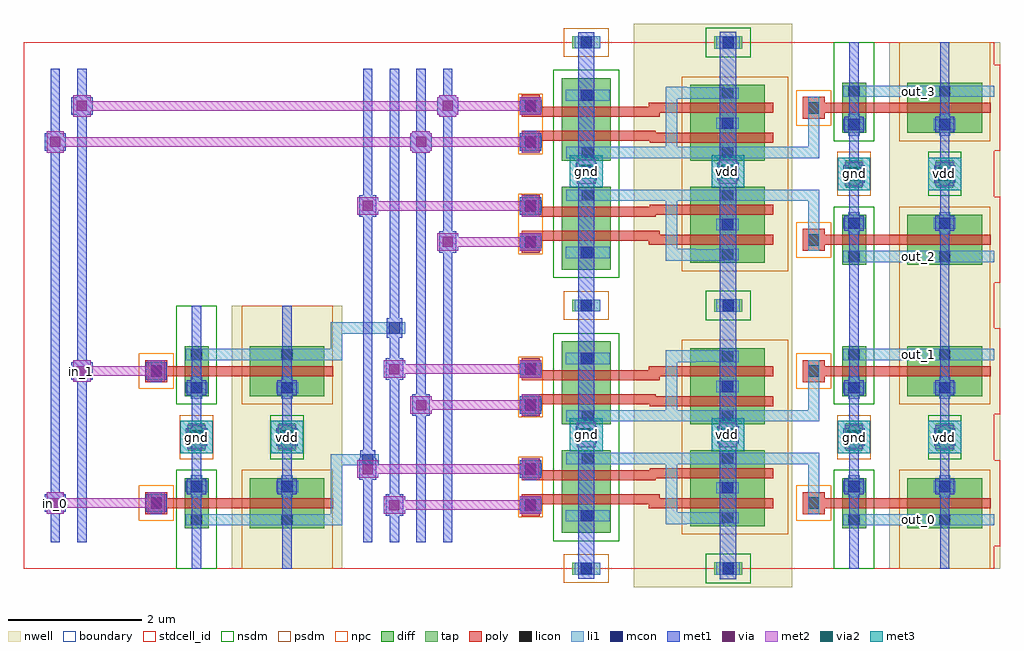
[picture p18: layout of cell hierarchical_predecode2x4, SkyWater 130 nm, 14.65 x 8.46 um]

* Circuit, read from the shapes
.subckt hierarchical_predecode2x4 gnd in_0 in_1 out_0 out_1 out_2 out_3 vdd
XM1 gnd in_0 and2_dec_2/A gnd sky130_fd_pr__nfet_01v8 w=0.36 l=0.15
XM2 and2_dec_2/B in_1 gnd gnd sky130_fd_pr__nfet_01v8 w=0.36 l=0.15
XM3 n1 and2_dec_2/B gnd gnd sky130_fd_pr__nfet_01v8 w=0.74 l=0.15
XM4 and2_dec_2/pinv_dec_1/A and2_dec_2/A n1 gnd sky130_fd_pr__nfet_01v8 w=0.74 l=0.15
XM5 n2 in_0 and2_dec_3/pinv_dec_1/A gnd sky130_fd_pr__nfet_01v8 w=0.74 l=0.15
XM6 gnd and2_dec_2/B n2 gnd sky130_fd_pr__nfet_01v8 w=0.74 l=0.15
XM7 n3 in_1 gnd gnd sky130_fd_pr__nfet_01v8 w=0.74 l=0.15
XM8 and2_dec_4/pinv_dec_1/A and2_dec_2/A n3 gnd sky130_fd_pr__nfet_01v8 w=0.74 l=0.15
XM9 n4 in_0 and2_dec_5/pinv_dec_1/A gnd sky130_fd_pr__nfet_01v8 w=0.74 l=0.15
XM10 gnd in_1 n4 gnd sky130_fd_pr__nfet_01v8 w=0.74 l=0.15
XM11 gnd and2_dec_2/pinv_dec_1/A out_0 gnd sky130_fd_pr__nfet_01v8 w=0.36 l=0.15
XM12 out_1 and2_dec_3/pinv_dec_1/A gnd gnd sky130_fd_pr__nfet_01v8 w=0.36 l=0.15
XM13 gnd and2_dec_4/pinv_dec_1/A out_2 gnd sky130_fd_pr__nfet_01v8 w=0.36 l=0.15
XM14 out_3 and2_dec_5/pinv_dec_1/A gnd gnd sky130_fd_pr__nfet_01v8 w=0.36 l=0.15
XM15 vdd in_0 and2_dec_2/A vdd sky130_fd_pr__pfet_01v8 w=1.12 l=0.15
XM16 and2_dec_2/B in_1 vdd vdd sky130_fd_pr__pfet_01v8 w=1.12 l=0.15
XM17 vdd and2_dec_2/B and2_dec_2/pinv_dec_1/A vdd sky130_fd_pr__pfet_01v8 w=1.12 l=0.15
XM18 and2_dec_2/pinv_dec_1/A and2_dec_2/A vdd vdd sky130_fd_pr__pfet_01v8 w=1.12 l=0.15
XM19 vdd in_0 and2_dec_3/pinv_dec_1/A vdd sky130_fd_pr__pfet_01v8 w=1.12 l=0.15
XM20 and2_dec_3/pinv_dec_1/A and2_dec_2/B vdd vdd sky130_fd_pr__pfet_01v8 w=1.12 l=0.15
XM21 vdd in_1 and2_dec_4/pinv_dec_1/A vdd sky130_fd_pr__pfet_01v8 w=1.12 l=0.15
XM22 and2_dec_4/pinv_dec_1/A and2_dec_2/A vdd vdd sky130_fd_pr__pfet_01v8 w=1.12 l=0.15
XM23 vdd in_0 and2_dec_5/pinv_dec_1/A vdd sky130_fd_pr__pfet_01v8 w=1.12 l=0.15
XM24 and2_dec_5/pinv_dec_1/A in_1 vdd vdd sky130_fd_pr__pfet_01v8 w=1.12 l=0.15
XM25 vdd and2_dec_2/pinv_dec_1/A out_0 vdd sky130_fd_pr__pfet_01v8 w=1.12 l=0.15
XM26 out_1 and2_dec_3/pinv_dec_1/A vdd vdd sky130_fd_pr__pfet_01v8 w=1.12 l=0.15
XM27 vdd and2_dec_4/pinv_dec_1/A out_2 vdd sky130_fd_pr__pfet_01v8 w=1.12 l=0.15
XM28 out_3 and2_dec_5/pinv_dec_1/A vdd vdd sky130_fd_pr__pfet_01v8 w=1.12 l=0.15
.ends

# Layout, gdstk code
from math import pi, radians
import gdstk
lib = gdstk.Library(unit=1e-6, precision=1e-09)
def R(c, l, rs):  # rectangles x0, y0, x1, y1
    for r in rs: c.add(gdstk.rectangle(r[:2], r[2:], *l))
def A(c, l, x, y, w, h, nx, ny, dx, dy):  # array of equal rectangles
    R(c, l, [(x+i*dx, y+j*dy, x+i*dx+w, y+j*dy+h) for i in range(nx) for j in range(ny)])
nwell = (64, 20)
diff = (65, 20)
tap = (65, 44)
poly = (66, 20)
licon = (66, 44)
li1 = (67, 20)
mcon = (67, 44)
met1 = (68, 20)
via = (68, 44)
met2 = (69, 20)
via2 = (69, 44)
met3 = (70, 20)
stdcell_id = (81, 4)
nsdm = (93, 44)
psdm = (94, 20)
npc = (95, 20)
boundary = (235, 4)

contact_11 = lib.new_cell('contact_11')
R(contact_11, nwell, [(-0.295,-0.255,0.545,0.585)])
R(contact_11, diff, [(0,0.02,0.25,0.31)])
R(contact_11, licon, [(0.04,0.08,0.21,0.25)])
R(contact_11, li1, [(0.04,0,0.21,0.33)])
R(contact_11, stdcell_id, [(-0.295,-0.255,0.545,0.585)])
R(contact_11, psdm, [(-0.125,-0.105,0.375,0.435)])
R(contact_11, boundary, [(-0.295,-0.255,0.545,0.585)])

pmos_m1_w1_120_sli_dli_d = lib.new_cell('pmos_m1_w1_120_sli_dli_da_p')
R(pmos_m1_w1_120_sli_dli_d, nwell, [(-0.27,-0.27,1.02,1.39)])
R(pmos_m1_w1_120_sli_dli_d, diff, [(0,0,0.75,1.12)])
R(pmos_m1_w1_120_sli_dli_d, poly, [(0.3,-0.13,0.45,1.25), (0.3,-0.13,0.45,1.25)])
R(pmos_m1_w1_120_sli_dli_d, li1, [(0.04,0.395,0.21,0.725), (0.54,0.395,0.71,0.725)])
R(pmos_m1_w1_120_sli_dli_d, stdcell_id, [(-0.27,-0.27,1.02,1.39)])
R(pmos_m1_w1_120_sli_dli_d, psdm, [(-0.125,-0.125,0.875,1.245)])
R(pmos_m1_w1_120_sli_dli_d, boundary, [(-0.27,-0.27,1.02,1.39)])
pmos_m1_w1_120_sli_dli_d.add(gdstk.Reference(contact_11, (0,0.395)))
pmos_m1_w1_120_sli_dli_d.add(gdstk.Reference(contact_11, (0.5,0.395)))
pmos_m1_w1_120_sli_dli_d.add(gdstk.Label('S', (0.125,0.56), layer=67, texttype=16))
pmos_m1_w1_120_sli_dli_d.add(gdstk.Label('G', (0.375,0.56), layer=66, texttype=16))
pmos_m1_w1_120_sli_dli_d.add(gdstk.Label('D', (0.625,0.56), layer=67, texttype=16))

contact_17 = lib.new_cell('contact_17')
R(contact_17, diff, [(0,0.02,0.25,0.31)])
R(contact_17, licon, [(0.04,0.08,0.21,0.25)])
R(contact_17, li1, [(0.04,0,0.21,0.33)])
R(contact_17, stdcell_id, [(-0.125,-0.105,0.375,0.435)])
R(contact_17, nsdm, [(-0.125,-0.105,0.375,0.435)])
R(contact_17, boundary, [(-0.125,-0.105,0.375,0.435)])

nmos_m1_w0_360_sli_dli_d = lib.new_cell('nmos_m1_w0_360_sli_dli_da_p')
R(nmos_m1_w0_360_sli_dli_d, diff, [(0,0,0.75,0.36)])
R(nmos_m1_w0_360_sli_dli_d, poly, [(0.3,-0.13,0.45,0.49), (0.3,-0.13,0.45,0.49)])
R(nmos_m1_w0_360_sli_dli_d, li1, [(0.04,0.015,0.21,0.345), (0.54,0.015,0.71,0.345)])
R(nmos_m1_w0_360_sli_dli_d, stdcell_id, [(-0.125,-0.13,0.875,0.49)])
R(nmos_m1_w0_360_sli_dli_d, nsdm, [(-0.125,-0.125,0.875,0.485)])
R(nmos_m1_w0_360_sli_dli_d, boundary, [(-0.125,-0.13,0.875,0.49)])
nmos_m1_w0_360_sli_dli_d.add(gdstk.Reference(contact_17, (0,0.015)))
nmos_m1_w0_360_sli_dli_d.add(gdstk.Reference(contact_17, (0.5,0.015)))
nmos_m1_w0_360_sli_dli_d.add(gdstk.Label('S', (0.125,0.18), layer=67, texttype=16))
nmos_m1_w0_360_sli_dli_d.add(gdstk.Label('G', (0.375,0.18), layer=66, texttype=16))
nmos_m1_w0_360_sli_dli_d.add(gdstk.Label('D', (0.625,0.18), layer=67, texttype=16))

contact_13 = lib.new_cell('contact_13')
R(contact_13, nwell, [(-0.295,-0.215,0.545,0.625)])
R(contact_13, tap, [(0,0,0.25,0.41)])
R(contact_13, licon, [(0.04,0.12,0.21,0.29)])
R(contact_13, li1, [(0.04,0.04,0.21,0.37)])
R(contact_13, stdcell_id, [(-0.295,-0.215,0.545,0.625)])
R(contact_13, nsdm, [(-0.125,-0.125,0.375,0.535)])
R(contact_13, boundary, [(-0.295,-0.215,0.545,0.625)])

contact_7 = lib.new_cell('contact_7')
R(contact_7, li1, [(0.06,0,0.23,0.33)])
R(contact_7, mcon, [(0.06,0.08,0.23,0.25)])
R(contact_7, met1, [(0,0.05,0.29,0.28)])
R(contact_7, stdcell_id, [(0,0,0.29,0.33)])
R(contact_7, boundary, [(0,0,0.29,0.33)])

contact_18 = lib.new_cell('contact_18')
R(contact_18, tap, [(0,0,0.25,0.41)])
R(contact_18, licon, [(0.04,0.12,0.21,0.29)])
R(contact_18, li1, [(0.04,0.04,0.21,0.37)])
R(contact_18, stdcell_id, [(-0.125,-0.125,0.375,0.535)])
R(contact_18, psdm, [(-0.125,-0.125,0.375,0.535)])
R(contact_18, boundary, [(-0.125,-0.125,0.375,0.535)])

contact_12 = lib.new_cell('contact_12')
R(contact_12, poly, [(0,0,0.33,0.33)])
R(contact_12, licon, [(0.08,0.08,0.25,0.25)])
R(contact_12, li1, [(0.08,0,0.25,0.33)])
R(contact_12, stdcell_id, [(-0.1,-0.1,0.43,0.43)])
R(contact_12, npc, [(-0.1,-0.1,0.43,0.43)])
R(contact_12, boundary, [(-0.1,-0.1,0.43,0.43)])

pinv_dec = lib.new_cell('pinv_dec')
R(pinv_dec, nwell, [(1.52,0,3.18,2.45)])
R(pinv_dec, poly, [(0.385,0.91,0.68,1.06), (1.3,0.91,1.66,1.06)])
R(pinv_dec, li1, [(0.825,0.65,3.09,0.82), (0.3,0.82,0.47,1.15)])
R(pinv_dec, met1, [(0.92,0,1.06,1.975), (2.28,0,2.42,1.975)])
R(pinv_dec, stdcell_id, [(0,0,3.09,1.975), (0,0,3.09,1.975)])
R(pinv_dec, nsdm, [(0.685,0,1.295,1.36)])
R(pinv_dec, psdm, [(1.665,0,3.035,1.36)])
R(pinv_dec, boundary, [(0,0,3.09,1.975), (0,0,3.09,1.975)])
pinv_dec.add(gdstk.Reference(pmos_m1_w1_120_sli_dli_d, (1.79,1.36), rotation=3*pi/2))
pinv_dec.add(gdstk.Reference(nmos_m1_w0_360_sli_dli_d, (0.81,1.36), rotation=3*pi/2))
pinv_dec.add(gdstk.Reference(contact_13, (2.225,1.77)))
pinv_dec.add(gdstk.Reference(contact_7, (2.205,1.81)))
pinv_dec.add(gdstk.Reference(contact_18, (0.865,1.77)))
pinv_dec.add(gdstk.Reference(contact_7, (0.845,1.81)))
pinv_dec.add(gdstk.Reference(contact_12, (0.22,0.82)))
pinv_dec.add(gdstk.Reference(contact_7, (0.845,1.07)))
pinv_dec.add(gdstk.Reference(contact_7, (2.205,1.07)))
pinv_dec.add(gdstk.Label('gnd', (0.99,0.988), layer=68, texttype=16))
pinv_dec.add(gdstk.Label('Z', (1.958,0.735), layer=67, texttype=16))
pinv_dec.add(gdstk.Label('vdd', (2.35,0.988), layer=68, texttype=16))
pinv_dec.add(gdstk.Label('A', (0.385,0.985), layer=67, texttype=16))

nand2_dec = lib.new_cell('nand2_dec')
R(nand2_dec, nwell, [(2.06,-0.28,4.44,2.38)])
R(nand2_dec, diff, [(0.98,0.54,1.72,1.78), (2.91,0.64,4.03,1.78)])
R(nand2_dec, tap, [(3.27,-0.095,3.69,0.095), (1.14,-0.09,1.56,0.09)])
R(nand2_dec, poly, [(0.38,0.79,0.65,0.97), (2.29,0.91,4.16,0.97), (0.38,0.97,4.16,1.06), (0.38,1.06,2.45,1.12), (0.38,1.33,2.39,1.36), (0.38,1.36,4.16,1.48), (0.38,1.48,0.65,1.66), (2.3,1.48,4.16,1.51)])
R(nand2_dec, licon, [(1.265,-0.085,1.435,0.085), (3.395,-0.085,3.565,0.085), (3.385,0.68,3.555,0.85), (1.295,0.71,1.465,0.88), (0.43,0.87,0.6,1.04), (3.385,1.13,3.555,1.3), (0.43,1.41,0.6,1.58), (1.285,1.57,1.455,1.74), (3.385,1.57,3.555,1.74)])
R(nand2_dec, li1, [(3.3,-0.095,3.65,0.095), (1.18,-0.09,1.56,0.09), (2.545,0.67,2.86,0.675), (2.545,0.675,3.425,0.68), (2.545,0.68,3.64,0.845), (1.04,0.71,1.7,0.88), (2.545,0.845,2.99,0.85), (3.3,0.845,3.64,0.85), (2.545,0.85,2.715,1.57), (0.35,0.87,0.68,1.04), (0.35,0.87,0.68,1.04), (3.3,1.13,3.635,1.3), (0.35,1.41,0.68,1.58), (0.35,1.41,0.68,1.58), (1.05,1.57,4.44,1.74), (1.05,1.57,4.44,1.74)])
R(nand2_dec, mcon, [(1.265,-0.085,1.435,0.085), (3.395,-0.085,3.565,0.085), (1.27,0.71,1.44,0.88), (3.385,1.13,3.555,1.3)])
R(nand2_dec, met1, [(3.35,-0.16,3.6,2.01), (3.35,-0.16,3.6,2.01), (1.23,-0.15,1.47,2.01), (1.23,-0.15,1.47,2.01)])
R(nand2_dec, nsdm, [(3.145,-0.22,3.815,0.22), (0.855,0.415,1.845,1.975)])
R(nand2_dec, psdm, [(1.015,-0.215,1.685,0.215), (2.785,0.515,4.38,1.975)])
R(nand2_dec, npc, [(0.33,0.77,0.7,1.68)])
R(nand2_dec, boundary, [(0,0,4.38,1.975)])
nand2_dec.add(gdstk.Label('B', (0.515,0.955), layer=67, texttype=20))
nand2_dec.add(gdstk.Label('A', (0.515,1.495), layer=67, texttype=20))
nand2_dec.add(gdstk.Label('Z', (4.27,1.655), layer=67, texttype=20))
nand2_dec.add(gdstk.Label('vdd', (3.48,0.47), layer=68, texttype=16))
nand2_dec.add(gdstk.Label('gnd', (1.34,0.41), layer=68, texttype=16))
nand2_dec.add(gdstk.Label('gnd', (1.35,0.93), layer=68, texttype=16))
nand2_dec.add(gdstk.Label('Z', (2.745,1.655), layer=67, texttype=16))
nand2_dec.add(gdstk.Label('vdd', (3.475,0.925), layer=68, texttype=16))
nand2_dec.add(gdstk.Label('A', (0.515,1.495), layer=67, texttype=16))
nand2_dec.add(gdstk.Label('B', (0.515,0.955), layer=67, texttype=16))

and2_dec = lib.new_cell('and2_dec')
R(and2_dec, li1, [(5.205,0.65,7.47,0.82), (0.35,0.87,0.68,1.04), (4.68,0.985,4.85,1.655), (0.35,1.41,0.68,1.58), (2.745,1.57,4.765,1.74), (4.68,1.57,4.85,1.74)])
R(and2_dec, met1, [(3.35,-0.16,3.6,2.01), (1.23,-0.15,1.47,2.01), (5.3,0,5.44,1.975), (6.66,0,6.8,1.975)])
R(and2_dec, stdcell_id, [(0,0,7.47,1.975)])
R(and2_dec, boundary, [(0,0,7.47,1.975)])
and2_dec.add(gdstk.Reference(nand2_dec, (0,0)))
and2_dec.add(gdstk.Reference(pinv_dec, (4.38,0)))
and2_dec.add(gdstk.Label('gnd', (1.35,0.93), layer=68, texttype=16))
and2_dec.add(gdstk.Label('gnd', (5.37,0.988), layer=68, texttype=16))
and2_dec.add(gdstk.Label('Z', (6.338,0.735), layer=67, texttype=16))
and2_dec.add(gdstk.Label('vdd', (6.73,0.988), layer=68, texttype=16))
and2_dec.add(gdstk.Label('vdd', (3.475,0.925), layer=68, texttype=16))
and2_dec.add(gdstk.Label('A', (0.515,1.495), layer=67, texttype=16))
and2_dec.add(gdstk.Label('B', (0.515,0.955), layer=67, texttype=16))

contact_19 = lib.new_cell('contact_19')
R(contact_19, li1, [(0,0.06,0.33,0.23)])
R(contact_19, mcon, [(0.08,0.06,0.25,0.23)])
R(contact_19, met1, [(0.05,0,0.28,0.29)])
R(contact_19, stdcell_id, [(0,0,0.33,0.29)])
R(contact_19, boundary, [(0,0,0.33,0.29)])

contact_8 = lib.new_cell('contact_8')
R(contact_8, met1, [(0,0.03,0.32,0.29)])
R(contact_8, via, [(0.085,0.085,0.235,0.235)])
R(contact_8, met2, [(0.03,0,0.29,0.32)])
R(contact_8, stdcell_id, [(0,0,0.32,0.32)])
R(contact_8, boundary, [(0,0,0.32,0.32)])

contact_20 = lib.new_cell('contact_20')
R(contact_20, met1, [(0.03,0,0.29,0.32)])
R(contact_20, via, [(0.085,0.085,0.235,0.235)])
R(contact_20, met2, [(0,0.03,0.32,0.29)])
R(contact_20, stdcell_id, [(0,0,0.32,0.32)])
R(contact_20, boundary, [(0,0,0.32,0.32)])

contact_21 = lib.new_cell('contact_21')
R(contact_21, li1, [(0,0.03,0.33,0.2)])
R(contact_21, mcon, [(0.08,0.03,0.25,0.2)])
R(contact_21, met1, [(0.02,0,0.31,0.23)])
R(contact_21, stdcell_id, [(0,0,0.33,0.23)])
R(contact_21, boundary, [(0,0,0.33,0.23)])

contact_22 = lib.new_cell('contact_22')
R(contact_22, met1, [(0,0,0.32,0.26)])
R(contact_22, via, [(0.085,0.055,0.235,0.205)])
R(contact_22, met2, [(0,0,0.32,0.26)])
R(contact_22, stdcell_id, [(0,0,0.32,0.26)])
R(contact_22, boundary, [(0,0,0.32,0.26)])

contact_9 = lib.new_cell('contact_9')
R(contact_9, met2, [(0.025,0,0.305,0.37)])
R(contact_9, via2, [(0.065,0.085,0.265,0.285)])
R(contact_9, met3, [(0,0.02,0.33,0.35)])
R(contact_9, stdcell_id, [(0,0,0.33,0.37)])
R(contact_9, boundary, [(0,0,0.33,0.37)])

hierarchical_predecode2x = lib.new_cell('hierarchical_predecode2x4')
R(hierarchical_predecode2x, li1, [(4.605,0.65,4.775,0.82), (12.295,0.65,14.56,0.82), (4.605,0.735,4.775,1.635), (4.605,1.55,4.775,1.72), (4.69,1.55,5.16,1.72), (4.605,3.13,4.775,3.3), (12.295,3.13,14.56,3.3), (4.605,3.215,4.775,3.61), (4.605,3.525,4.775,3.695), (4.69,3.525,5.56,3.695), (12.295,4.6,14.56,4.77), (12.295,7.08,14.56,7.25)])
A(hierarchical_predecode2x, met1, 5.09, 0.4, 0.14, 7.1, 4, 1, 0.4, 0)
R(hierarchical_predecode2x, met1, [(0.4,0.4,0.54,7.5), (0.8,0.4,0.94,7.5), (2.52,0.4,2.66,3.95), (3.88,0.4,4.02,3.95), (8.32,0.4,8.56,8.05), (10.44,0.4,10.69,8.06), (12.39,0.4,12.53,7.9), (13.75,0.4,13.89,7.9), (0.34,0.825,0.6,1.145), (7.445,0.825,7.765,1.085), (1.825,0.855,2.145,1.115), (7.445,1.365,7.765,1.625), (7.445,2.325,7.765,2.585), (0.74,2.805,1,3.125), (1.825,2.835,2.145,3.095), (7.445,2.865,7.765,3.125), (7.445,4.775,7.765,5.035), (7.445,5.315,7.765,5.575), (7.445,6.275,7.765,6.535), (7.445,6.815,7.765,7.075)])
R(hierarchical_predecode2x, met2, [(5.56,0.885,7.605,1.025), (0.47,0.915,1.985,1.055), (5.16,1.425,7.605,1.565), (2.45,1.855,2.73,2.095), (2.45,1.855,2.73,2.095), (3.81,1.855,4.09,2.095), (3.81,1.855,4.09,2.095), (12.32,1.855,12.6,2.095), (12.32,1.855,12.6,2.095), (13.68,1.855,13.96,2.095), (13.68,1.855,13.96,2.095), (8.3,1.89,8.58,2.13), (8.3,1.89,8.58,2.13), (10.425,1.89,10.705,2.13), (10.425,1.89,10.705,2.13), (5.96,2.385,7.605,2.525), (0.87,2.895,1.985,3.035), (5.56,2.925,7.605,3.065), (6.36,4.835,7.605,4.975), (5.16,5.375,7.605,5.515), (12.32,5.805,12.6,6.045), (12.32,5.805,12.6,6.045), (13.68,5.805,13.96,6.045), (13.68,5.805,13.96,6.045), (8.3,5.84,8.58,6.08), (8.3,5.84,8.58,6.08), (10.425,5.84,10.705,6.08), (10.425,5.84,10.705,6.08), (0.47,6.335,5.96,6.475), (5.96,6.335,7.605,6.475), (0.87,6.875,6.36,7.015), (6.36,6.875,7.605,7.015)])
R(hierarchical_predecode2x, met3, [(2.345,1.73,2.835,2.22), (3.705,1.73,4.195,2.22), (12.215,1.73,12.705,2.22), (13.575,1.73,14.065,2.22), (8.195,1.765,8.685,2.255), (10.32,1.765,10.81,2.255), (12.215,5.68,12.705,6.17), (13.575,5.68,14.065,6.17), (8.195,5.715,8.685,6.205), (10.32,5.715,10.81,6.205)])
R(hierarchical_predecode2x, stdcell_id, [(0,0,14.56,7.9)])
R(hierarchical_predecode2x, boundary, [(0,0,14.56,7.9)])
hierarchical_predecode2x.add(gdstk.Reference(pinv_dec, (1.6,0)))
hierarchical_predecode2x.add(gdstk.Reference(pinv_dec, (1.6,3.95), x_reflection=True))
hierarchical_predecode2x.add(gdstk.Reference(and2_dec, (7.09,0)))
hierarchical_predecode2x.add(gdstk.Reference(and2_dec, (7.09,3.95), x_reflection=True))
hierarchical_predecode2x.add(gdstk.Reference(and2_dec, (7.09,3.95)))
hierarchical_predecode2x.add(gdstk.Reference(and2_dec, (7.09,7.9), x_reflection=True))
hierarchical_predecode2x.add(gdstk.Reference(contact_19, (4.995,1.49)))
hierarchical_predecode2x.add(gdstk.Reference(contact_7, (1.84,0.82)))
hierarchical_predecode2x.add(gdstk.Reference(contact_8, (1.825,0.825)))
hierarchical_predecode2x.add(gdstk.Reference(contact_8, (0.31,0.825)))
hierarchical_predecode2x.add(gdstk.Reference(contact_19, (5.395,3.465)))
hierarchical_predecode2x.add(gdstk.Reference(contact_7, (1.84,2.8)))
hierarchical_predecode2x.add(gdstk.Reference(contact_8, (1.825,2.805)))
hierarchical_predecode2x.add(gdstk.Reference(contact_8, (0.71,2.805)))
hierarchical_predecode2x.add(gdstk.Reference(contact_8, (0.31,6.245)))
hierarchical_predecode2x.add(gdstk.Reference(contact_8, (5.8,6.245)))
hierarchical_predecode2x.add(gdstk.Reference(contact_8, (0.71,6.785)))
hierarchical_predecode2x.add(gdstk.Reference(contact_8, (6.2,6.785)))
hierarchical_predecode2x.add(gdstk.Reference(contact_20, (5,1.335)))
hierarchical_predecode2x.add(gdstk.Reference(contact_7, (7.46,1.33)))
hierarchical_predecode2x.add(gdstk.Reference(contact_8, (7.445,1.335)))
hierarchical_predecode2x.add(gdstk.Reference(contact_20, (5.4,0.795)))
hierarchical_predecode2x.add(gdstk.Reference(contact_21, (7.44,0.84)))
hierarchical_predecode2x.add(gdstk.Reference(contact_22, (7.445,0.825)))
hierarchical_predecode2x.add(gdstk.Reference(contact_20, (5.8,2.295)))
hierarchical_predecode2x.add(gdstk.Reference(contact_7, (7.46,2.29)))
hierarchical_predecode2x.add(gdstk.Reference(contact_8, (7.445,2.295)))
hierarchical_predecode2x.add(gdstk.Reference(contact_20, (5.4,2.835)))
hierarchical_predecode2x.add(gdstk.Reference(contact_21, (7.44,2.88)))
hierarchical_predecode2x.add(gdstk.Reference(contact_22, (7.445,2.865)))
hierarchical_predecode2x.add(gdstk.Reference(contact_20, (5,5.285)))
hierarchical_predecode2x.add(gdstk.Reference(contact_7, (7.46,5.28)))
hierarchical_predecode2x.add(gdstk.Reference(contact_8, (7.445,5.285)))
hierarchical_predecode2x.add(gdstk.Reference(contact_20, (6.2,4.745)))
hierarchical_predecode2x.add(gdstk.Reference(contact_21, (7.44,4.79)))
hierarchical_predecode2x.add(gdstk.Reference(contact_22, (7.445,4.775)))
hierarchical_predecode2x.add(gdstk.Reference(contact_20, (5.8,6.245)))
hierarchical_predecode2x.add(gdstk.Reference(contact_7, (7.46,6.24)))
hierarchical_predecode2x.add(gdstk.Reference(contact_8, (7.445,6.245)))
hierarchical_predecode2x.add(gdstk.Reference(contact_20, (6.2,6.785)))
hierarchical_predecode2x.add(gdstk.Reference(contact_21, (7.44,6.83)))
hierarchical_predecode2x.add(gdstk.Reference(contact_22, (7.445,6.815)))
hierarchical_predecode2x.add(gdstk.Reference(contact_8, (3.79,1.815)))
hierarchical_predecode2x.add(gdstk.Reference(contact_9, (3.785,1.79)))
hierarchical_predecode2x.add(gdstk.Reference(contact_8, (3.79,1.815)))
hierarchical_predecode2x.add(gdstk.Reference(contact_9, (3.785,1.79)))
hierarchical_predecode2x.add(gdstk.Reference(contact_8, (13.66,1.815)))
hierarchical_predecode2x.add(gdstk.Reference(contact_9, (13.655,1.79)))
hierarchical_predecode2x.add(gdstk.Reference(contact_8, (13.66,1.815)))
hierarchical_predecode2x.add(gdstk.Reference(contact_9, (13.655,1.79)))
hierarchical_predecode2x.add(gdstk.Reference(contact_8, (10.405,1.85)))
hierarchical_predecode2x.add(gdstk.Reference(contact_9, (10.4,1.825)))
hierarchical_predecode2x.add(gdstk.Reference(contact_8, (10.405,1.85)))
hierarchical_predecode2x.add(gdstk.Reference(contact_9, (10.4,1.825)))
hierarchical_predecode2x.add(gdstk.Reference(contact_8, (13.66,5.765)))
hierarchical_predecode2x.add(gdstk.Reference(contact_9, (13.655,5.74)))
hierarchical_predecode2x.add(gdstk.Reference(contact_8, (13.66,5.765)))
hierarchical_predecode2x.add(gdstk.Reference(contact_9, (13.655,5.74)))
hierarchical_predecode2x.add(gdstk.Reference(contact_8, (10.405,5.8)))
hierarchical_predecode2x.add(gdstk.Reference(contact_9, (10.4,5.775)))
hierarchical_predecode2x.add(gdstk.Reference(contact_8, (10.405,5.8)))
hierarchical_predecode2x.add(gdstk.Reference(contact_9, (10.4,5.775)))
hierarchical_predecode2x.add(gdstk.Reference(contact_8, (2.43,1.815)))
hierarchical_predecode2x.add(gdstk.Reference(contact_9, (2.425,1.79)))
hierarchical_predecode2x.add(gdstk.Reference(contact_8, (2.43,1.815)))
hierarchical_predecode2x.add(gdstk.Reference(contact_9, (2.425,1.79)))
hierarchical_predecode2x.add(gdstk.Reference(contact_8, (8.28,1.85)))
hierarchical_predecode2x.add(gdstk.Reference(contact_9, (8.275,1.825)))
hierarchical_predecode2x.add(gdstk.Reference(contact_8, (8.28,1.85)))
hierarchical_predecode2x.add(gdstk.Reference(contact_9, (8.275,1.825)))
hierarchical_predecode2x.add(gdstk.Reference(contact_8, (12.3,1.815)))
hierarchical_predecode2x.add(gdstk.Reference(contact_9, (12.295,1.79)))
hierarchical_predecode2x.add(gdstk.Reference(contact_8, (12.3,1.815)))
hierarchical_predecode2x.add(gdstk.Reference(contact_9, (12.295,1.79)))
hierarchical_predecode2x.add(gdstk.Reference(contact_8, (8.28,5.8)))
hierarchical_predecode2x.add(gdstk.Reference(contact_9, (8.275,5.775)))
hierarchical_predecode2x.add(gdstk.Reference(contact_8, (8.28,5.8)))
hierarchical_predecode2x.add(gdstk.Reference(contact_9, (8.275,5.775)))
hierarchical_predecode2x.add(gdstk.Reference(contact_8, (12.3,5.765)))
hierarchical_predecode2x.add(gdstk.Reference(contact_9, (12.295,5.74)))
hierarchical_predecode2x.add(gdstk.Reference(contact_8, (12.3,5.765)))
hierarchical_predecode2x.add(gdstk.Reference(contact_9, (12.295,5.74)))
hierarchical_predecode2x.add(gdstk.Label('out_3', (13.428,7.165), layer=67, texttype=16))
hierarchical_predecode2x.add(gdstk.Label('out_2', (13.428,4.685), layer=67, texttype=16))
hierarchical_predecode2x.add(gdstk.Label('gnd', (2.59,1.975), layer=70, texttype=16))
hierarchical_predecode2x.add(gdstk.Label('gnd', (12.46,1.975), layer=70, texttype=16))
hierarchical_predecode2x.add(gdstk.Label('gnd', (12.46,5.925), layer=70, texttype=16))
hierarchical_predecode2x.add(gdstk.Label('gnd', (8.44,2.01), layer=70, texttype=16))
hierarchical_predecode2x.add(gdstk.Label('gnd', (8.44,5.96), layer=70, texttype=16))
hierarchical_predecode2x.add(gdstk.Label('out_1', (13.428,3.215), layer=67, texttype=16))
hierarchical_predecode2x.add(gdstk.Label('out_0', (13.428,0.735), layer=67, texttype=16))
hierarchical_predecode2x.add(gdstk.Label('in_1', (0.87,2.965), layer=68, texttype=16))
hierarchical_predecode2x.add(gdstk.Label('vdd', (10.565,5.96), layer=70, texttype=16))
hierarchical_predecode2x.add(gdstk.Label('vdd', (3.95,1.975), layer=70, texttype=16))
hierarchical_predecode2x.add(gdstk.Label('vdd', (13.82,5.925), layer=70, texttype=16))
hierarchical_predecode2x.add(gdstk.Label('vdd', (10.565,2.01), layer=70, texttype=16))
hierarchical_predecode2x.add(gdstk.Label('vdd', (13.82,1.975), layer=70, texttype=16))
hierarchical_predecode2x.add(gdstk.Label('in_0', (0.47,0.985), layer=68, texttype=16))

lib.write_gds('hierarchical_predecode2x4.gds')
